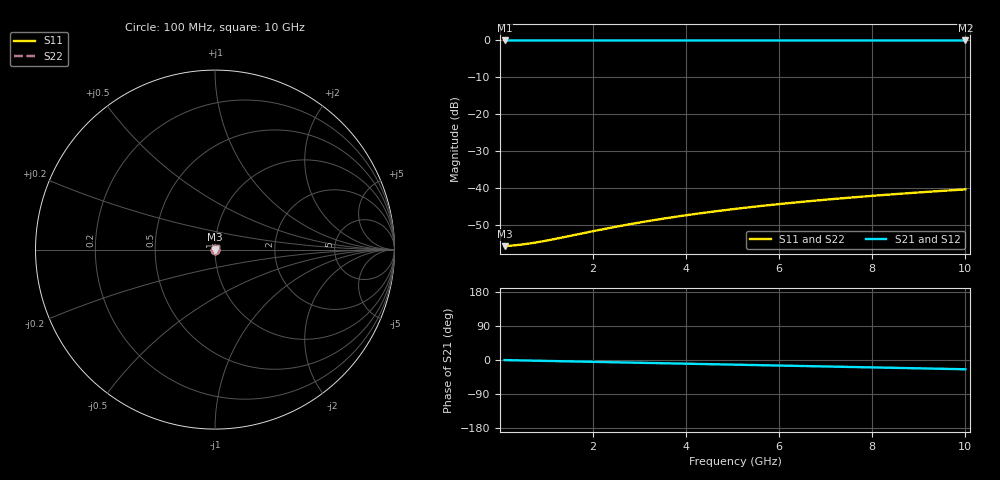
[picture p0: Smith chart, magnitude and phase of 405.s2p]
# Hz S RI R 50.00
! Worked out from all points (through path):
!   100 points, 100 MHz to 10 GHz, reference 50 ohm
!   highest |S21| = -0.01 dB at 100 MHz (marker M1); lowest = 0.0 dB at 10 GHz (marker M2)
!   group delay of S21, straight-line fit = 6.79 ps
!   lowest |S11| = -55.8 dB at 100 MHz (marker M3), VSWR 1.00, Z = 50.2 + j0.00932 ohm
!   |S11| at or under -10 dB: start of sweep to end of sweep
!   |S22| runs from -55.8 to -40.4 dB; largest |S21 - S12| = 0
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1e8  0.00162 9.29e-05  0.9984 -0.00424  0.9984 -0.00424  0.00162 9.29e-05
3e8  0.00164 0.000278  0.9983 -0.0127  0.9983 -0.0127  0.00164 0.000278
4e8  0.00164 0.000371  0.9982 -0.017  0.9982 -0.017  0.00164 0.000371
6e8  0.00166 0.000556  0.998 -0.0254  0.998 -0.0254  0.00166 0.000556
8e8  0.00168 0.00074  0.9977 -0.0339  0.9977 -0.0339  0.00168 0.00074
1e9  0.00169 0.000924  0.9974 -0.0424  0.9974 -0.0424  0.00169 0.000924
1.2e9  0.00171 0.00111  0.997 -0.0509  0.997 -0.0509  0.00171 0.00111
1.8e9  0.00179 0.00165  0.9953 -0.0763  0.9953 -0.0763  0.00179 0.00165
2.2e9  0.00186 0.00201  0.9939 -0.0932  0.9939 -0.0932  0.00186 0.00201
2.6e9  0.00194 0.00237  0.9921 -0.1101  0.9921 -0.1101  0.00194 0.00237
3e9  0.00203 0.00272  0.9901 -0.1269  0.9901 -0.1269  0.00203 0.00272
3.4e9  0.00213 0.00307  0.9878 -0.1437  0.9878 -0.1437  0.00213 0.00307
3.8e9  0.00224 0.00341  0.9852 -0.1605  0.9852 -0.1605  0.00224 0.00341
4.2e9  0.00237 0.00375  0.9823 -0.1773  0.9823 -0.1773  0.00237 0.00375
4.6e9  0.0025 0.00408  0.9791 -0.194  0.9791 -0.194  0.0025 0.00408
5.1e9  0.00269 0.00449  0.9747 -0.2148  0.9747 -0.2148  0.00269 0.00449
5.9e9  0.00302 0.00512  0.9668 -0.2479  0.9668 -0.2479  0.00302 0.00512
6.7e9  0.0034 0.00572  0.9577 -0.2808  0.9577 -0.2808  0.0034 0.00572
7.5e9  0.00381 0.0063  0.9475 -0.3133  0.9475 -0.3133  0.00381 0.0063
8.4e9  0.00433 0.00691  0.9347 -0.3496  0.9347 -0.3496  0.00433 0.00691
9.2e9  0.00483 0.00742  0.9222 -0.3814  0.9222 -0.3814  0.00483 0.00742
1e10  0.00537 0.00789  0.9085 -0.4127  0.9085 -0.4127  0.00537 0.00789
